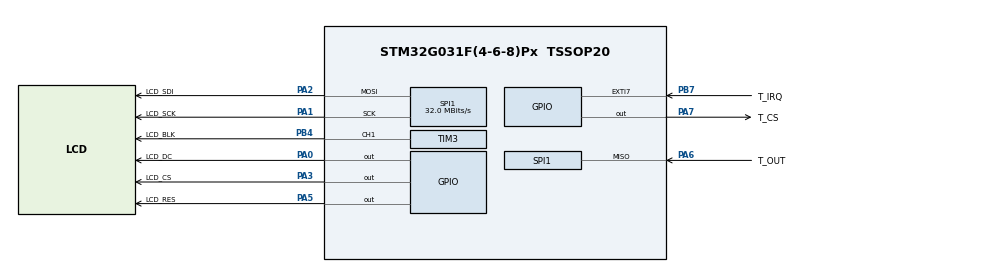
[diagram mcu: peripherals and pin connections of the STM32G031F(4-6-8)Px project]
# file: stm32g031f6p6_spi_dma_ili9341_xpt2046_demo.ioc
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Dma.Request0=SPI1_TX
Dma.SPI1_TX.0.Direction=DMA_MEMORY_TO_PERIPH
Dma.SPI1_TX.0.EventEnable=DISABLE
Dma.SPI1_TX.0.Instance=DMA1_Channel1
Dma.SPI1_TX.0.MemDataAlignment=DMA_MDATAALIGN_HALFWORD
Dma.SPI1_TX.0.MemInc=DMA_MINC_ENABLE
Dma.SPI1_TX.0.Mode=DMA_NORMAL
Dma.SPI1_TX.0.PeriphDataAlignment=DMA_PDATAALIGN_HALFWORD
Dma.SPI1_TX.0.PeriphInc=DMA_PINC_DISABLE
Dma.SPI1_TX.0.Polarity=HAL_DMAMUX_REQ_GEN_RISING
Dma.SPI1_TX.0.Priority=DMA_PRIORITY_LOW
Dma.SPI1_TX.0.RequestNumber=1
Dma.SPI1_TX.0.SignalID=NONE
Dma.SPI1_TX.0.SyncEnable=DISABLE
Dma.SPI1_TX.0.SyncPolarity=HAL_DMAMUX_SYNC_NO_EVENT
Dma.SPI1_TX.0.SyncRequestNumber=1
Dma.SPI1_TX.0.SyncSignalID=NONE
Mcu.Family=STM32G0
Mcu.Name=STM32G031F(4-6-8)Px
Mcu.Package=TSSOP20
NVIC.DMA1_Channel1_IRQn=true\:1\:0\:true\:false\:true\:false\:true\:true
NVIC.EXTI4_15_IRQn=true\:2\:0\:true\:false\:true\:true\:true\:true
PA0.GPIO_Label=LCD_DC
PA0.GPIO_ModeDefaultOutputPP=GPIO_MODE_OUTPUT_PP
PA0.GPIO_PuPd=GPIO_PULLUP
PA0.GPIO_Speed=GPIO_SPEED_FREQ_VERY_HIGH
PA0.PinState=GPIO_PIN_SET
PA0.Signal=GPIO_Output
PA1.GPIO_Label=LCD_SCK
PA1.GPIO_Mode=GPIO_MODE_AF_PP
PA1.GPIO_PuPd=GPIO_NOPULL
PA1.GPIO_Speed=GPIO_SPEED_FREQ_VERY_HIGH
PA1.Mode=Full_Duplex_Master
PA1.PinState=GPIO_PIN_RESET
PA1.Signal=SPI1_SCK
PA13.Mode=Serial_Wire
PA13.Signal=SYS_SWDIO
PA14-BOOT0.Mode=Serial_Wire
PA14-BOOT0.Signal=SYS_SWCLK
PA14-BOOT0__PA15.StandardMode=true
PA2.GPIO_Label=LCD_SDI
PA2.GPIO_Mode=GPIO_MODE_AF_PP
PA2.GPIO_PuPd=GPIO_NOPULL
PA2.GPIO_Speed=GPIO_SPEED_FREQ_VERY_HIGH
PA2.Mode=Full_Duplex_Master
PA2.PinState=GPIO_PIN_RESET
PA2.Signal=SPI1_MOSI
PA3.GPIO_Label=LCD_CS
PA3.GPIO_ModeDefaultOutputPP=GPIO_MODE_OUTPUT_PP
PA3.GPIO_PuPd=GPIO_PULLUP
PA3.GPIO_Speed=GPIO_SPEED_FREQ_VERY_HIGH
PA3.PinState=GPIO_PIN_SET
PA3.Signal=GPIO_Output
PA5.GPIO_Label=LCD_RES
PA5.GPIO_ModeDefaultOutputPP=GPIO_MODE_OUTPUT_PP
PA5.GPIO_PuPd=GPIO_PULLUP
PA5.GPIO_Speed=GPIO_SPEED_FREQ_VERY_HIGH
PA5.PinState=GPIO_PIN_SET
PA5.Signal=GPIO_Output
PA6.GPIO_Label=T_OUT
PA6.GPIO_Mode=GPIO_MODE_AF_PP
PA6.GPIO_PuPd=GPIO_NOPULL
PA6.GPIO_Speed=GPIO_SPEED_FREQ_VERY_HIGH
PA6.Mode=Full_Duplex_Master
PA6.PinState=GPIO_PIN_RESET
PA6.Signal=SPI1_MISO
PA7.GPIO_Label=T_CS
PA7.GPIO_ModeDefaultOutputPP=GPIO_MODE_OUTPUT_PP
PA7.GPIO_PuPd=GPIO_PULLUP
PA7.GPIO_Speed=GPIO_SPEED_FREQ_VERY_HIGH
PA7.PinState=GPIO_PIN_SET
PA7.Signal=GPIO_Output
PB0__PB1__PB2__PA8.StandardMode=true
PB3__PB4__PB5__PB6.StandardMode=true
PB4.GPIO_Label=LCD_BLK
PB4.Signal=S_TIM3_CH1
PB7.GPIO_Label=T_IRQ
PB7.GPIO_ModeDefaultEXTI=GPIO_MODE_IT_FALLING
PB7.GPIO_PuPd=GPIO_PULLUP
PB7.Signal=GPXTI7
PB7__PB8.StandardMode=true
PC14-OSC32_IN\ (PC14)__PB9.StandardMode=true
ProjectManager.HeapSize=0x200
ProjectManager.StackSize=0x400
ProjectManager.TargetToolchain=STM32CubeIDE
RCC.ADCFreq_Value=64000000
RCC.AHBFreq_Value=64000000
RCC.CortexFreq_Value=64000000
RCC.EXTERNAL_CLOCK_VALUE=12288000
RCC.HCLKFreq_Value=64000000
RCC.HSE_VALUE=8000000
RCC.HSI_VALUE=16000000
RCC.LSE_VALUE=32768
RCC.SYSCLKFreq_VALUE=64000000
RCC.SYSCLKSource=RCC_SYSCLKSOURCE_PLLCLK
RCC.VCOOutputFreq_Value=128000000
SH.S_TIM3_CH1.0=TIM3_CH1,PWM Generation1 CH1
SPI1.CalculateBaudRate=32.0 MBits/s
SPI1.Direction=SPI_DIRECTION_2LINES
SPI1.Mode=SPI_MODE_MASTER
SPI1.VirtualType=VM_MASTER
TIM3.Channel-PWM\ Generation1\ CH1=TIM_CHANNEL_1
TIM3.Period=159
TIM3.Prescaler=999
TIM3.Pulse-PWM\ Generation1\ CH1=100
board=custom

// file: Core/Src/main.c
/* USER CODE BEGIN Header */
/*
 * Демонстрация работы с сенсорным экраном (тачскрином) на базе контроллера XPT2046 (HR2046 и т.п.)
 * и дисплеем на базе контроллера ILI9341 (spi)
 *
 * Для микроконтроллеров stm32g0x
 *
 * Copyright (C) 2022, VadRov, all right reserved.
 *
 * https://www.youtube.com/@VadRov
 * https://dzen.ru/vadrov
 * https://vk.com/vadrov
 * https://t.me/vadrov_channel
 *
 */
 /* USER CODE END Header */
#include "main.h"

/* USER CODE BEGIN Includes */
#include "display.h"
#include "ili9341.h"
#include "xpt2046.h"
#include "calibrate_touch.h"
#include "demo.h"
#include <stdlib.h>
#include <stdio.h>
#include <string.h>
/* USER CODE END Includes */

/* USER CODE BEGIN PTD */
volatile uint32_t millis = 0; //счетчик системного времени, мс

XPT2046_Handler touch1;

/* USER CODE END PTD */

/* USER CODE BEGIN PD */
/* Для тех, кто не умеет пользоваться отладчиком или
 * тех, у кого он не работает */
/*
static void convert64bit_to_hex(uint8_t *v, char *b)
{
	 b[0] = 0;
	 sprintf(&b[strlen(b)], "0x");
	 for (int i = 0; i < 8; i++) {
		 sprintf(&b[strlen(b)], "%02x", v[7 - i]);
	 }
}
*/
/* USER CODE END PD */

void SystemClock_Config(void);
static void MX_GPIO_Init(void);
static void MX_DMA_Init(void);
static void MX_SPI1_Init(void);
static void MX_TIM3_Init(void);

int main(void)
{

  /* USER CODE BEGIN 1 */
	//Включение буфера предварительной выборки
	FLASH->ACR |= FLASH_ACR_PRFTEN;
	//Включение кеша инструкций
	FLASH->ACR |= FLASH_ACR_ICEN;
  /* USER CODE END 1 */

  /* MCU Configuration--------------------------------------------------------*/

  /* Reset of all peripherals, Initializes the Flash interface and the Systick. */
  LL_APB2_GRP1_EnableClock(LL_APB2_GRP1_PERIPH_SYSCFG);
  LL_APB1_GRP1_EnableClock(LL_APB1_GRP1_PERIPH_PWR);

  /* SysTick_IRQn interrupt configuration */
  NVIC_SetPriority(SysTick_IRQn, 3);

  /* Configure the system clock */
  SystemClock_Config();

  /* USER CODE BEGIN SysInit */
  //настраиваем системный таймер (прерывания 1000 раз в секунду)
  SysTick_Config(SystemCoreClock/1000);
  /* USER CODE END SysInit */

  /* Initialize all configured peripherals */
  MX_GPIO_Init();
  MX_DMA_Init();
  MX_SPI1_Init();
  MX_TIM3_Init();
  /* USER CODE BEGIN 2 */
  //Активируем и настраиваем драйвер дисплея
  LCD_DMA_TypeDef dma_tx = { .dma = DMA1,
		  	  	  	  	  	 .channel = 1 };

  LCD_BackLight_data bkl_data = { .tim_bk =         TIM3,
		  	  	  	  	  	  	  .channel_tim_bk = 1,
								  .blk_port =       0,
								  .blk_pin =        0,
								  .bk_percent =     80 };

  LCD_SPI_Connected_data spi_con = { .spi =        SPI1,
		  	  	  	  	  	  	  	 .dma_tx =     dma_tx,
									 .reset_port = LCD_RES_GPIO_Port,
									 .reset_pin =  LCD_RES_Pin,
									 .dc_port =    LCD_DC_GPIO_Port,
									 .dc_pin =     LCD_DC_Pin,
									 .cs_port =    LCD_CS_GPIO_Port,
								 	 .cs_pin =     LCD_CS_Pin };

#ifndef LCD_DYNAMIC_MEM
  LCD_Handler lcd1;
#endif

  LCD = LCD_DisplayAdd( LCD,
  #ifndef LCD_DYNAMIC_MEM
  		  	  	  	  	&lcd1,
  #endif
  		  	  	  	  	320,
  		   				240,
  						ILI9341_CONTROLLER_WIDTH,
  						ILI9341_CONTROLLER_HEIGHT,
  						//Задаем смещение по ширине и высоте для нестандартных или бракованных дисплеев:
  						0,		//смещение по ширине дисплейной матрицы
  						0,		//смещение по высоте дисплейной матрицы
  						PAGE_ORIENTATION_PORTRAIT_MIRROR,
  						ILI9341_Init,
  						ILI9341_SetWindow,
  						ILI9341_SleepIn,
  						ILI9341_SleepOut,
  						&spi_con,
  						LCD_DATA_16BIT_BUS,
  						bkl_data );

  LCD_Handler *lcd = LCD; //указатель на первый дисплей в списке
  LCD_Init(lcd);
  LCD_Fill(lcd, COLOR_BLUE);
  LCD_WriteString(lcd, 10, 0, "Hello,  world!", &Font_8x13, COLOR_YELLOW, COLOR_BLUE, LCD_SYMBOL_PRINT_FAST);
  LL_mDelay(2000);
  //---------------------------------------------------------------------------------------------------------
  /* ----------------------------------- Настройка тачскрина ------------------------------------------*/
  //Будем обмениваться данными с XPT2046 на скорости 2 Мбит/с: 64 MHz / 32 = 2 MHz
  //(по спецификации максимум 2.0 Мбит/с).
  XPT2046_ConnectionData cnt_touch = { .spi 	 = SPI1,			//Используемый spi
		  	  	  	  	  	  	  	   .speed 	 = 4,				//Скорость spi 0...7 (0 - clk/2, 1 - clk/4, ..., 7 - clk/256)
									   .cs_port  = T_CS_GPIO_Port,	//Порт для управления T_CS
									   .cs_pin 	 = T_CS_Pin,		//Вывод порта для управления T_CS
									   .irq_port = T_IRQ_GPIO_Port,	//Порт для управления T_IRQ
									   .irq_pin  = T_IRQ_Pin,		//Вывод порта для управления T_IRQ
									   .exti_irq = T_IRQ_EXTI_IRQn  //Канал внешнего прерывания
  	  	  	  	  	  	  	  	  	 };
  //Инициализация обработчика XPT2046
  XPT2046_InitTouch(&touch1, 20, &cnt_touch);
  LCD_WriteString(lcd, 10, 25, "Touch init OK!", &Font_8x13, COLOR_YELLOW, COLOR_BLUE, LCD_SYMBOL_PRINT_FAST);
  LL_mDelay(2000);
/* Самый простой вариант хранения в программе
 * коэффициентов калибровки. Строку XPT2046_CalibrateTouch
 * надо будет закомментировать */
/*
  tCoef coef = {.D   = 0x00022b4253626d37,
  	  	  	  	.Dx1 = 0xffffd9e9e85d81b6,
  	  	  	  	.Dx2 = 0x0000005a555c98ab,
  	  	  	  	.Dx3 = 0x022dd7f0419e66b7,
  	  	  	  	.Dy1 = 0xffffff6065e10c98,
  	  	  	    .Dy2 = 0x0000343b820dc8bf,
  	  	  	  	.Dy3 = 0xff9cc25725238e55 };
  touch1.coef = coef;
*/

  /* Калибровка тачскрина
   * Если коэффициенты калибровки выше определены, то эту строку надо
   * закомментировать */
  XPT2046_CalibrateTouch(&touch1, lcd); //Запускаем процедуру калибровки

  /* Вывод на дисплей 64 битных коэффициентов калибровки для тех,
   * кто не умеет пользоваться отладчиком или для тех,
   * у кого он не работает. До использования не забудьте раскомментировать
   * функцию convert64bit_to_hex */
  /*
  char b[100];
  convert64bit_to_hex((uint8_t*)(&touch1.coef.D), b);
  LCD_WriteString(lcd, 0, 0, b, &Font_12x20, COLOR_YELLOW, COLOR_BLUE, LCD_SYMBOL_PRINT_FAST);
  convert64bit_to_hex((uint8_t*)(&touch1.coef.Dx1), b);
  LCD_WriteString(lcd, 0, 20, b, &Font_12x20, COLOR_YELLOW, COLOR_BLUE, LCD_SYMBOL_PRINT_FAST);
  convert64bit_to_hex((uint8_t*)(&touch1.coef.Dx2), b);
  LCD_WriteString(lcd, 0, 40, b, &Font_12x20, COLOR_YELLOW, COLOR_BLUE, LCD_SYMBOL_PRINT_FAST);
  convert64bit_to_hex((uint8_t*)(&touch1.coef.Dx3), b);
  LCD_WriteString(lcd, 0, 60, b, &Font_12x20, COLOR_YELLOW, COLOR_BLUE, LCD_SYMBOL_PRINT_FAST);
  convert64bit_to_hex((uint8_t*)(&touch1.coef.Dy1), b);
  LCD_WriteString(lcd, 0, 80, b, &Font_12x20, COLOR_YELLOW, COLOR_BLUE, LCD_SYMBOL_PRINT_FAST);
  convert64bit_to_hex((uint8_t*)(&touch1.coef.Dy2), b);
  LCD_WriteString(lcd, 0, 100, b, &Font_12x20, COLOR_YELLOW, COLOR_BLUE, LCD_SYMBOL_PRINT_FAST);
  convert64bit_to_hex((uint8_t*)(&touch1.coef.Dy3), b);
  LCD_WriteString(lcd, 0, 120, b, &Font_12x20, COLOR_YELLOW, COLOR_BLUE, LCD_SYMBOL_PRINT_FAST);
while(1) { }
  //После того, как перенесете параметры в coef это все "дело" закомментируйте
*/

  /* --------------------------------------------------------------------------------------------------*/

  //----------------------------------------- Запуск демок --------------------------------------------*/

  //Демка для рисования на экране с помощью тачскрина.
  Draw_TouchPenDemo(&touch1, lcd);

  //Демка рисует примитивы, отображает температуру и позволяет перемещать круг по дисплею.
  //При удержании касания окрашивает дисплей случайным цветом.
  RoadCircleDemo(&touch1, lcd);

  /* --------------------------------------------------------------------------------------------------*/
  /* USER CODE END 2 */

  /* Infinite loop */
  while (1)
  {

  }
}

void SystemClock_Config(void)
{
  LL_FLASH_SetLatency(LL_FLASH_LATENCY_2);
  while(LL_FLASH_GetLatency() != LL_FLASH_LATENCY_2)
  {
  }

  /* HSI configuration and activation */
  LL_RCC_HSI_Enable();
  while(LL_RCC_HSI_IsReady() != 1)
  {
  }

  /* Main PLL configuration and activation */
  LL_RCC_PLL_ConfigDomain_SYS(LL_RCC_PLLSOURCE_HSI, LL_RCC_PLLM_DIV_1, 8, LL_RCC_PLLR_DIV_2);
  LL_RCC_PLL_Enable();
  LL_RCC_PLL_EnableDomain_SYS();
  while(LL_RCC_PLL_IsReady() != 1)
  {
  }

  /* Set AHB prescaler*/
  LL_RCC_SetAHBPrescaler(LL_RCC_SYSCLK_DIV_1);

  /* Sysclk activation on the main PLL */
  LL_RCC_SetSysClkSource(LL_RCC_SYS_CLKSOURCE_PLL);
  while(LL_RCC_GetSysClkSource() != LL_RCC_SYS_CLKSOURCE_STATUS_PLL)
  {
  }

  /* Set APB1 prescaler*/
  LL_RCC_SetAPB1Prescaler(LL_RCC_APB1_DIV_1);

  LL_Init1msTick(64000000);

  /* Update CMSIS variable (which can be updated also through SystemCoreClockUpdate function) */
  LL_SetSystemCoreClock(64000000);
}

static void MX_SPI1_Init(void)
{

  LL_SPI_InitTypeDef SPI_InitStruct = {0};

  LL_GPIO_InitTypeDef GPIO_InitStruct = {0};

  /* Peripheral clock enable */
  LL_APB2_GRP1_EnableClock(LL_APB2_GRP1_PERIPH_SPI1);

  LL_IOP_GRP1_EnableClock(LL_IOP_GRP1_PERIPH_GPIOA);
  /**SPI1 GPIO Configuration
  PA1   ------> SPI1_SCK
  PA2   ------> SPI1_MOSI
  PA6   ------> SPI1_MISO
  */
  GPIO_InitStruct.Pin = LCD_SCK_Pin;
  GPIO_InitStruct.Mode = LL_GPIO_MODE_ALTERNATE;
  GPIO_InitStruct.Speed = LL_GPIO_SPEED_FREQ_VERY_HIGH;
  GPIO_InitStruct.OutputType = LL_GPIO_OUTPUT_PUSHPULL;
  GPIO_InitStruct.Pull = LL_GPIO_PULL_NO;
  GPIO_InitStruct.Alternate = LL_GPIO_AF_0;
  LL_GPIO_Init(LCD_SCK_GPIO_Port, &GPIO_InitStruct);

  GPIO_InitStruct.Pin = LCD_SDI_Pin;
  GPIO_InitStruct.Mode = LL_GPIO_MODE_ALTERNATE;
  GPIO_InitStruct.Speed = LL_GPIO_SPEED_FREQ_VERY_HIGH;
  GPIO_InitStruct.OutputType = LL_GPIO_OUTPUT_PUSHPULL;
  GPIO_InitStruct.Pull = LL_GPIO_PULL_NO;
  GPIO_InitStruct.Alternate = LL_GPIO_AF_0;
  LL_GPIO_Init(LCD_SDI_GPIO_Port, &GPIO_InitStruct);

  GPIO_InitStruct.Pin = T_OUT_Pin;
  GPIO_InitStruct.Mode = LL_GPIO_MODE_ALTERNATE;
  GPIO_InitStruct.Speed = LL_GPIO_SPEED_FREQ_VERY_HIGH;
  GPIO_InitStruct.OutputType = LL_GPIO_OUTPUT_PUSHPULL;
  GPIO_InitStruct.Pull = LL_GPIO_PULL_NO;
  GPIO_InitStruct.Alternate = LL_GPIO_AF_0;
  LL_GPIO_Init(T_OUT_GPIO_Port, &GPIO_InitStruct);

  /* SPI1 DMA Init */

  /* SPI1_TX Init */
  LL_DMA_SetPeriphRequest(DMA1, LL_DMA_CHANNEL_1, LL_DMAMUX_REQ_SPI1_TX);

  LL_DMA_SetDataTransferDirection(DMA1, LL_DMA_CHANNEL_1, LL_DMA_DIRECTION_MEMORY_TO_PERIPH);

  LL_DMA_SetChannelPriorityLevel(DMA1, LL_DMA_CHANNEL_1, LL_DMA_PRIORITY_LOW);

  LL_DMA_SetMode(DMA1, LL_DMA_CHANNEL_1, LL_DMA_MODE_NORMAL);

  LL_DMA_SetPeriphIncMode(DMA1, LL_DMA_CHANNEL_1, LL_DMA_PERIPH_NOINCREMENT);

  LL_DMA_SetMemoryIncMode(DMA1, LL_DMA_CHANNEL_1, LL_DMA_MEMORY_INCREMENT);

  LL_DMA_SetPeriphSize(DMA1, LL_DMA_CHANNEL_1, LL_DMA_PDATAALIGN_HALFWORD);

  LL_DMA_SetMemorySize(DMA1, LL_DMA_CHANNEL_1, LL_DMA_MDATAALIGN_HALFWORD);

  /* SPI1 parameter configuration*/
  SPI_InitStruct.TransferDirection = LL_SPI_FULL_DUPLEX;
  SPI_InitStruct.Mode = LL_SPI_MODE_MASTER;
  SPI_InitStruct.DataWidth = LL_SPI_DATAWIDTH_8BIT;
  SPI_InitStruct.ClockPolarity = LL_SPI_POLARITY_LOW;
  SPI_InitStruct.ClockPhase = LL_SPI_PHASE_1EDGE;
  SPI_InitStruct.NSS = LL_SPI_NSS_SOFT;
  SPI_InitStruct.BaudRate = LL_SPI_BAUDRATEPRESCALER_DIV2;
  SPI_InitStruct.BitOrder = LL_SPI_MSB_FIRST;
  SPI_InitStruct.CRCCalculation = LL_SPI_CRCCALCULATION_DISABLE;
  SPI_InitStruct.CRCPoly = 7;
  LL_SPI_Init(SPI1, &SPI_InitStruct);
  LL_SPI_SetStandard(SPI1, LL_SPI_PROTOCOL_MOTOROLA);
  LL_SPI_EnableNSSPulseMgt(SPI1);

}

static void MX_TIM3_Init(void)
{

  LL_TIM_InitTypeDef TIM_InitStruct = {0};
  LL_TIM_OC_InitTypeDef TIM_OC_InitStruct = {0};

  LL_GPIO_InitTypeDef GPIO_InitStruct = {0};

  /* Peripheral clock enable */
  LL_APB1_GRP1_EnableClock(LL_APB1_GRP1_PERIPH_TIM3);

  TIM_InitStruct.Prescaler = 999;
  TIM_InitStruct.CounterMode = LL_TIM_COUNTERMODE_UP;
  TIM_InitStruct.Autoreload = 159;
  TIM_InitStruct.ClockDivision = LL_TIM_CLOCKDIVISION_DIV1;
  LL_TIM_Init(TIM3, &TIM_InitStruct);
  LL_TIM_DisableARRPreload(TIM3);
  LL_TIM_OC_EnablePreload(TIM3, LL_TIM_CHANNEL_CH1);
  TIM_OC_InitStruct.OCMode = LL_TIM_OCMODE_PWM1;
  TIM_OC_InitStruct.OCState = LL_TIM_OCSTATE_DISABLE;
  TIM_OC_InitStruct.OCNState = LL_TIM_OCSTATE_DISABLE;
  TIM_OC_InitStruct.CompareValue = 100;
  TIM_OC_InitStruct.OCPolarity = LL_TIM_OCPOLARITY_HIGH;
  LL_TIM_OC_Init(TIM3, LL_TIM_CHANNEL_CH1, &TIM_OC_InitStruct);
  LL_TIM_OC_DisableFast(TIM3, LL_TIM_CHANNEL_CH1);
  LL_TIM_SetTriggerOutput(TIM3, LL_TIM_TRGO_RESET);
  LL_TIM_DisableMasterSlaveMode(TIM3);
  LL_IOP_GRP1_EnableClock(LL_IOP_GRP1_PERIPH_GPIOB);
  /**TIM3 GPIO Configuration
  PB4   ------> TIM3_CH1
  */
  GPIO_InitStruct.Pin = LCD_BLK_Pin;
  GPIO_InitStruct.Mode = LL_GPIO_MODE_ALTERNATE;
  GPIO_InitStruct.Speed = LL_GPIO_SPEED_FREQ_LOW;
  GPIO_InitStruct.OutputType = LL_GPIO_OUTPUT_PUSHPULL;
  GPIO_InitStruct.Pull = LL_GPIO_PULL_NO;
  GPIO_InitStruct.Alternate = LL_GPIO_AF_1;
  LL_GPIO_Init(LCD_BLK_GPIO_Port, &GPIO_InitStruct);

}

static void MX_DMA_Init(void)
{

  /* Init with LL driver */
  /* DMA controller clock enable */
  LL_AHB1_GRP1_EnableClock(LL_AHB1_GRP1_PERIPH_DMA1);

  /* DMA interrupt init */
  /* DMA1_Channel1_IRQn interrupt configuration */
  NVIC_SetPriority(DMA1_Channel1_IRQn, 1);
  NVIC_EnableIRQ(DMA1_Channel1_IRQn);

}

static void MX_GPIO_Init(void)
{
  LL_EXTI_InitTypeDef EXTI_InitStruct = {0};
  LL_GPIO_InitTypeDef GPIO_InitStruct = {0};

  /* GPIO Ports Clock Enable */
  LL_IOP_GRP1_EnableClock(LL_IOP_GRP1_PERIPH_GPIOB);
  LL_IOP_GRP1_EnableClock(LL_IOP_GRP1_PERIPH_GPIOA);

  /**/
  LL_GPIO_SetOutputPin(LCD_DC_GPIO_Port, LCD_DC_Pin);

  /**/
  LL_GPIO_SetOutputPin(LCD_CS_GPIO_Port, LCD_CS_Pin);

  /**/
  LL_GPIO_SetOutputPin(LCD_RES_GPIO_Port, LCD_RES_Pin);

  /**/
  LL_GPIO_SetOutputPin(T_CS_GPIO_Port, T_CS_Pin);

  /**/
  LL_EXTI_SetEXTISource(LL_EXTI_CONFIG_PORTB, LL_EXTI_CONFIG_LINE7);

  /**/
  EXTI_InitStruct.Line_0_31 = LL_EXTI_LINE_7;
  EXTI_InitStruct.LineCommand = ENABLE;
  EXTI_InitStruct.Mode = LL_EXTI_MODE_IT;
  EXTI_InitStruct.Trigger = LL_EXTI_TRIGGER_FALLING;
  LL_EXTI_Init(&EXTI_InitStruct);

  /**/
  LL_GPIO_SetPinPull(T_IRQ_GPIO_Port, T_IRQ_Pin, LL_GPIO_PULL_UP);

  /**/
  LL_GPIO_SetPinMode(T_IRQ_GPIO_Port, T_IRQ_Pin, LL_GPIO_MODE_INPUT);

  /**/
  GPIO_InitStruct.Pin = LCD_DC_Pin;
  GPIO_InitStruct.Mode = LL_GPIO_MODE_OUTPUT;
  GPIO_InitStruct.Speed = LL_GPIO_SPEED_FREQ_VERY_HIGH;
  GPIO_InitStruct.OutputType = LL_GPIO_OUTPUT_PUSHPULL;
  GPIO_InitStruct.Pull = LL_GPIO_PULL_UP;
  LL_GPIO_Init(LCD_DC_GPIO_Port, &GPIO_InitStruct);

  /**/
  GPIO_InitStruct.Pin = LCD_CS_Pin;
  GPIO_InitStruct.Mode = LL_GPIO_MODE_OUTPUT;
  GPIO_InitStruct.Speed = LL_GPIO_SPEED_FREQ_VERY_HIGH;
  GPIO_InitStruct.OutputType = LL_GPIO_OUTPUT_PUSHPULL;
  GPIO_InitStruct.Pull = LL_GPIO_PULL_UP;
  LL_GPIO_Init(LCD_CS_GPIO_Port, &GPIO_InitStruct);

  /**/
  GPIO_InitStruct.Pin = LCD_RES_Pin;
  GPIO_InitStruct.Mode = LL_GPIO_MODE_OUTPUT;
  GPIO_InitStruct.Speed = LL_GPIO_SPEED_FREQ_VERY_HIGH;
  GPIO_InitStruct.OutputType = LL_GPIO_OUTPUT_PUSHPULL;
  GPIO_InitStruct.Pull = LL_GPIO_PULL_UP;
  LL_GPIO_Init(LCD_RES_GPIO_Port, &GPIO_InitStruct);

  /**/
  GPIO_InitStruct.Pin = T_CS_Pin;
  GPIO_InitStruct.Mode = LL_GPIO_MODE_OUTPUT;
  GPIO_InitStruct.Speed = LL_GPIO_SPEED_FREQ_VERY_HIGH;
  GPIO_InitStruct.OutputType = LL_GPIO_OUTPUT_PUSHPULL;
  GPIO_InitStruct.Pull = LL_GPIO_PULL_UP;
  LL_GPIO_Init(T_CS_GPIO_Port, &GPIO_InitStruct);

  /* EXTI interrupt init*/
  NVIC_SetPriority(EXTI4_15_IRQn, 2);
  NVIC_EnableIRQ(EXTI4_15_IRQn);

}

void Error_Handler(void)
{
  __disable_irq();
  while (1)
  {
  }
}
